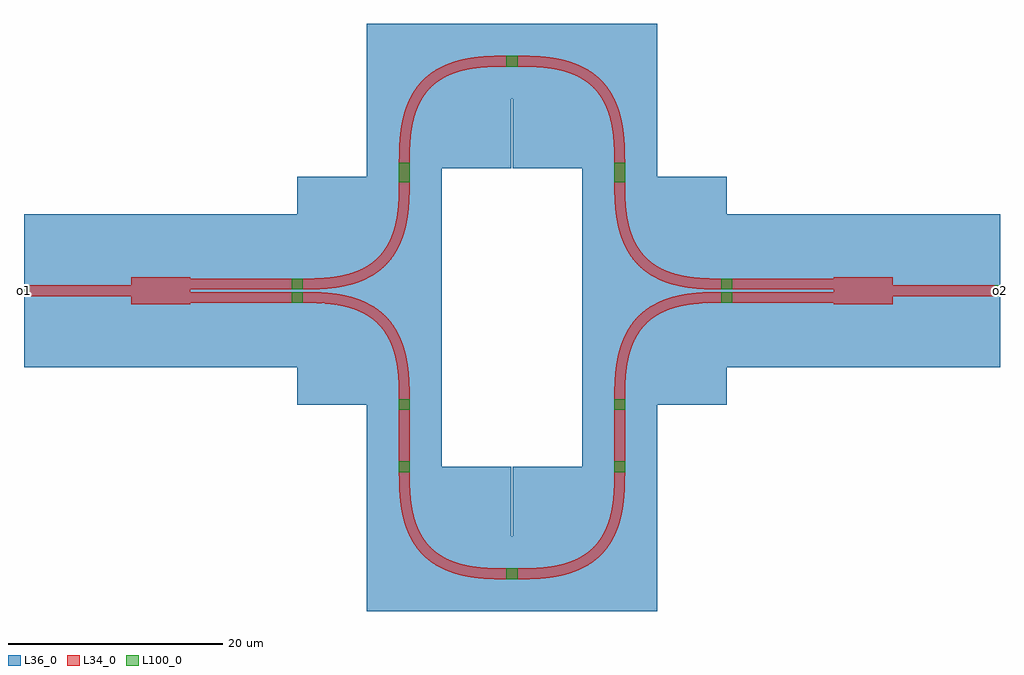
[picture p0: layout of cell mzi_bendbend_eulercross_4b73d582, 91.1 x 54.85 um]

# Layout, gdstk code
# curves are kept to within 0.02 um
from math import pi, radians
import gdstk
lib = gdstk.Library(unit=1e-6, precision=1e-09)
def R(c, l, rs):  # rectangles x0, y0, x1, y1
    for r in rs: c.add(gdstk.rectangle(r[:2], r[2:], *l))
def P(c, l, *ps):  # polygons
    for p in ps: c.add(gdstk.Polygon(p, *l))
L34_0 = (34, 0)
L36_0 = (36, 0)
L100_0 = (100, 0)

mmi1x2_cross_sectionfab_ = lib.new_cell('mmi1x2_cross_sectionfab_a090cf93')
R(mmi1x2_cross_sectionfab_, L34_0, [(-2.75,-1.25,2.75,1.25), (2.75,-1.125,12.75,-0.125), (-12.75,-0.5,-2.75,0.5), (2.75,0.125,12.75,1.125)])
R(mmi1x2_cross_sectionfab_, L36_0, [(-12.75,-7.125,12.75,7.125), (2.75,-4.125,12.75,2.875), (-12.75,-3.5,-2.75,3.5), (2.75,-2.875,12.75,4.125)])
R(mmi1x2_cross_sectionfab_, L100_0, [(12.25,-1.125,12.75,-0.125), (-12.75,-0.5,-12.25,0.5), (12.25,0.125,12.75,1.125)])
mmi1x2_cross_sectionfab_.add(gdstk.Label('o3', (12.75,-0.625), layer=100, texttype=0))
mmi1x2_cross_sectionfab_.add(gdstk.Label('o2', (12.75,0.625), layer=100, texttype=0))
mmi1x2_cross_sectionfab_.add(gdstk.Label('o1', (-12.75,0), layer=100, texttype=0))

bend_euler_cross_sectio_ = lib.new_cell('bend_euler_cross_sectio_07315be8')
P(bend_euler_cross_sectio_, L34_0, [(0,-0.5),(1.609,-0.485),(2.906,-0.411),(4.016,-0.266),(5.025,-0.04),(5.967,0.277),(6.828,0.687),(7.593,1.182),(8.25,1.75),(8.818,2.407),(9.313,3.172),(9.723,4.033),(10.04,4.975),(10.266,5.984),(10.411,7.094),(10.485,8.391),(10.5,10),(9.5,10),(9.488,8.511),(9.431,7.367),(9.324,6.422),(9.144,5.5),(8.859,4.57),(8.542,3.85),(8.094,3.111),(7.602,2.518),(7.028,2.008),(6.227,1.498),(5.43,1.141),(4.672,0.9),(3.755,0.704),(2.633,0.569),(1.489,0.512),(0,0.5)])
R(bend_euler_cross_sectio_, L36_0, [(0,-3.5,13.5,10)])
R(bend_euler_cross_sectio_, L100_0, [(0,-0.5,0.5,0.5), (9.5,9.5,10.5,10)])
bend_euler_cross_sectio_.add(gdstk.Label('o1', (0,0), layer=100, texttype=0))
bend_euler_cross_sectio_.add(gdstk.Label('o2', (10,10), layer=100, texttype=0))

straight_cross_sectionf_ = lib.new_cell('straight_cross_sectionf_19837d0e')
R(straight_cross_sectionf_, L34_0, [(0,-0.5,0.8,0.5)])
R(straight_cross_sectionf_, L36_0, [(0,-3.5,0.8,3.5)])
R(straight_cross_sectionf_, L100_0, [(0,-0.5,0.5,0.5), (0.3,-0.5,0.8,0.5)])
straight_cross_sectionf_.add(gdstk.Label('o1', (0,0), layer=100, texttype=0))
straight_cross_sectionf_.add(gdstk.Label('o2', (0.8,0), layer=100, texttype=0))

c_straight_cross_sectionf_ = lib.new_cell('straight_cross_sectionf_cb0ef580')
R(c_straight_cross_sectionf_, L34_0, [(0,-0.5,0.1,0.5)])
R(c_straight_cross_sectionf_, L36_0, [(0,-3.5,0.1,3.5)])
R(c_straight_cross_sectionf_, L100_0, [(-0.4,-0.5,0.1,0.5), (0,-0.5,0.5,0.5)])
c_straight_cross_sectionf_.add(gdstk.Label('o1', (0,0), layer=100, texttype=0))
c_straight_cross_sectionf_.add(gdstk.Label('o2', (0.1,0), layer=100, texttype=0))

mzi_arm_bendbend_eulerc_ = lib.new_cell('mzi_arm_bendbend_eulerc_b77e5758')
mzi_arm_bendbend_eulerc_.add(gdstk.Reference(bend_euler_cross_sectio_, (0,0)))
mzi_arm_bendbend_eulerc_.add(gdstk.Reference(straight_cross_sectionf_, (10,10), rotation=pi/2))
mzi_arm_bendbend_eulerc_.add(gdstk.Reference(bend_euler_cross_sectio_, (20,20.8), rotation=pi))
mzi_arm_bendbend_eulerc_.add(gdstk.Reference(c_straight_cross_sectionf_, (20,20.8)))
mzi_arm_bendbend_eulerc_.add(gdstk.Reference(bend_euler_cross_sectio_, (30.1,10.8), rotation=pi/2))
mzi_arm_bendbend_eulerc_.add(gdstk.Reference(straight_cross_sectionf_, (30.1,10.8), rotation=3*pi/2))
mzi_arm_bendbend_eulerc_.add(gdstk.Reference(bend_euler_cross_sectio_, (30.1,10), rotation=3*pi/2))

c_straight_cross_sectionf__ = lib.new_cell('straight_cross_sectionf_fdc43948')
R(c_straight_cross_sectionf__, L34_0, [(0,-0.5,5.8,0.5)])
R(c_straight_cross_sectionf__, L36_0, [(0,-3.5,5.8,3.5)])
R(c_straight_cross_sectionf__, L100_0, [(0,-0.5,0.5,0.5), (5.3,-0.5,5.8,0.5)])
c_straight_cross_sectionf__.add(gdstk.Label('o1', (0,0), layer=100, texttype=0))
c_straight_cross_sectionf__.add(gdstk.Label('o2', (5.8,0), layer=100, texttype=0))

c_mzi_arm_bendbend_eulerc_ = lib.new_cell('mzi_arm_bendbend_eulerc_378ed607')
c_mzi_arm_bendbend_eulerc_.add(gdstk.Reference(bend_euler_cross_sectio_, (0,0)))
c_mzi_arm_bendbend_eulerc_.add(gdstk.Reference(c_straight_cross_sectionf__, (10,10), rotation=pi/2))
c_mzi_arm_bendbend_eulerc_.add(gdstk.Reference(bend_euler_cross_sectio_, (20,25.8), rotation=pi))
c_mzi_arm_bendbend_eulerc_.add(gdstk.Reference(c_straight_cross_sectionf_, (20,25.8)))
c_mzi_arm_bendbend_eulerc_.add(gdstk.Reference(bend_euler_cross_sectio_, (30.1,15.8), rotation=pi/2))
c_mzi_arm_bendbend_eulerc_.add(gdstk.Reference(c_straight_cross_sectionf__, (30.1,15.8), rotation=3*pi/2))
c_mzi_arm_bendbend_eulerc_.add(gdstk.Reference(bend_euler_cross_sectio_, (30.1,10), rotation=3*pi/2))

mzi_bendbend_eulercross_ = lib.new_cell('mzi_bendbend_eulercross_4b73d582')
R(mzi_bendbend_eulercross_, L100_0, [(-12.75,-0.5,-12.25,0.5), (77.85,-0.5,78.35,0.5)])
mzi_bendbend_eulercross_.add(gdstk.Reference(mmi1x2_cross_sectionfab_, (0,0)))
mzi_bendbend_eulercross_.add(gdstk.Reference(mmi1x2_cross_sectionfab_, (65.6,0), rotation=pi))
mzi_bendbend_eulercross_.add(gdstk.Reference(mzi_arm_bendbend_eulerc_, (12.75,0.625)))
mzi_bendbend_eulercross_.add(gdstk.Reference(c_mzi_arm_bendbend_eulerc_, (12.75,-0.625), x_reflection=True))
mzi_bendbend_eulercross_.add(gdstk.Label('o1', (-12.75,0), layer=100, texttype=0))
mzi_bendbend_eulercross_.add(gdstk.Label('o2', (78.35,0), layer=100, texttype=0))

lib.write_gds('mzi_bendbend_eulercross_4b73d582.gds')
